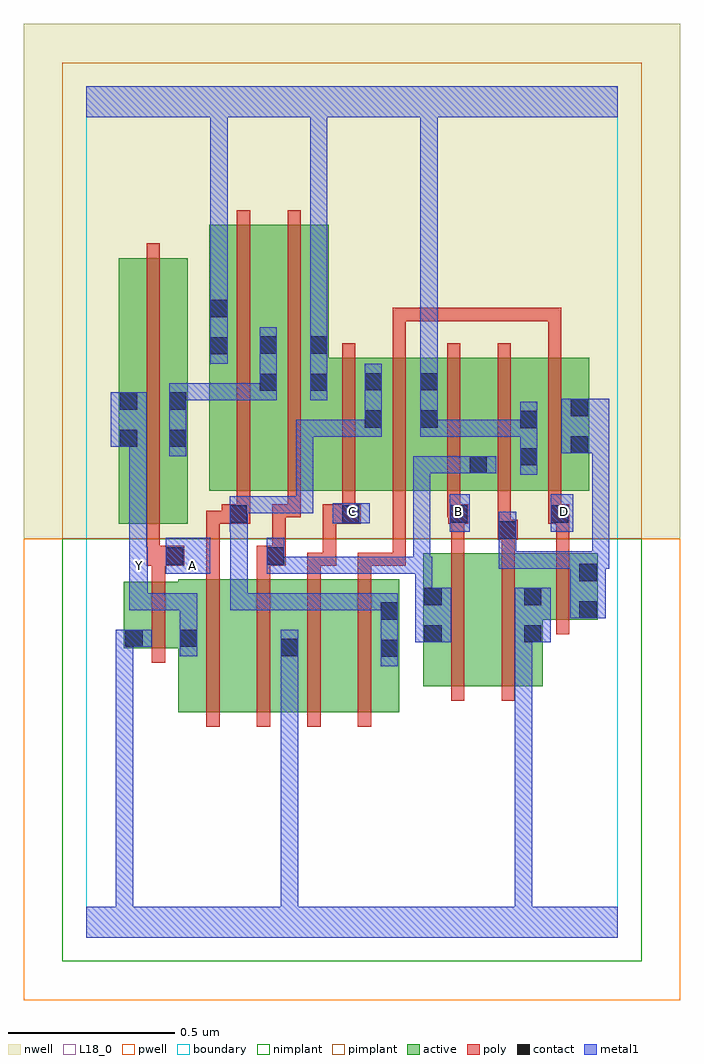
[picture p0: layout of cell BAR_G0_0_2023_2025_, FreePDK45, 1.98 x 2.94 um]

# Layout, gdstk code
import gdstk
lib = gdstk.Library(unit=1e-6, precision=1e-09)
def R(c, l, rs):  # rectangles x0, y0, x1, y1
    for r in rs: c.add(gdstk.rectangle(r[:2], r[2:], *l))
def A(c, l, x, y, w, h, nx, ny, dx, dy):  # array of equal rectangles
    R(c, l, [(x+i*dx, y+j*dy, x+i*dx+w, y+j*dy+h) for i in range(nx) for j in range(ny)])
active = (1, 0)
pwell = (2, 0)
nwell = (3, 0)
nimplant = (4, 0)
pimplant = (5, 0)
poly = (9, 0)
contact = (10, 0)
metal1 = (11, 0)
L18_0 = (18, 0)
boundary = (235, 0)

bar_g0_0_2023_2025_ = lib.new_cell('BAR_G0_0_2023_2025_')
R(bar_g0_0_2023_2025_, active, [(0.278,0.678,0.458,1.078), (0.278,0.678,0.338,0.93), (0.458,0.678,0.642,1.078), (0.582,0.678,0.762,1.078), (0.582,0.678,0.642,1.078), (0.762,0.678,0.942,1.078), (0.882,0.678,0.942,1.078), (1.014,0.756,1.194,1.156), (1.014,0.756,1.074,1.156), (1.194,0.756,1.374,1.156), (1.314,0.756,1.374,1.056), (0.114,0.87,0.174,1.07), (0.114,0.87,0.338,1.07), (1.314,0.956,1.54,1.156), (1.48,0.956,1.54,1.156), (0.098,1.244,0.158,2.044), (0.098,1.244,0.306,2.044), (0.246,1.244,0.306,2.044), (0.37,1.344,0.43,2.144), (0.37,1.344,0.578,2.144), (0.518,1.344,0.578,2.144), (0.518,1.344,0.73,2.144), (0.67,1.344,0.894,1.744), (0.67,1.344,0.73,2.144), (0.834,1.344,0.894,1.744), (0.834,1.344,1.062,1.744), (1.002,1.344,1.062,1.744), (1.002,1.344,1.21,1.744), (1.15,1.344,1.362,1.744), (1.302,1.344,1.362,1.744), (1.302,1.344,1.514,1.744), (1.454,1.344,1.514,1.744), (1.15,1.392,1.21,1.644)])
R(bar_g0_0_2023_2025_, pwell, [(-0.188,-0.188,1.788,1.2)])
R(bar_g0_0_2023_2025_, nwell, [(-0.188,1.2,1.788,2.748)])
R(bar_g0_0_2023_2025_, nimplant, [(-0.072,-0.072,1.672,1.2)])
R(bar_g0_0_2023_2025_, pimplant, [(-0.072,1.2,1.672,2.632)])
A(bar_g0_0_2023_2025_, poly, 0.362, 0.634, 0.04, 0.488, 4, 1, 0.152, 0)
A(bar_g0_0_2023_2025_, poly, 0.514, 1.082, 0.04, 0.076, 3, 1, 0.152, 0)
A(bar_g0_0_2023_2025_, poly, 1.086, 1.3, 0.04, 0.488, 3, 1, 0.152, 0)
R(bar_g0_0_2023_2025_, poly, [(1.098,0.712,1.138,1.2), (1.25,0.712,1.29,1.2), (0.198,0.826,0.238,1.114), (1.414,0.912,1.454,1.2), (0.198,1.074,0.238,1.158), (0.362,1.082,0.402,1.284), (0.182,1.118,0.296,1.178), (0.198,1.118,0.238,1.158), (0.198,1.118,0.238,1.158), (0.514,1.118,0.6,1.178), (0.666,1.118,0.752,1.158), (0.712,1.118,0.752,1.284), (0.818,1.118,0.95,1.158), (0.91,1.118,0.95,1.158), (0.91,1.118,0.962,1.158), (0.922,1.118,0.962,1.34), (0.182,1.138,0.222,1.24), (0.56,1.138,0.6,1.304), (1.098,1.16,1.138,1.284), (1.25,1.16,1.29,1.236), (1.414,1.16,1.454,1.284), (1.238,1.196,1.298,1.256), (0.182,1.2,0.222,2.088), (1.238,1.216,1.278,1.256), (1.238,1.216,1.278,1.256), (1.238,1.216,1.278,1.34), (0.362,1.244,0.448,1.284), (0.408,1.244,0.448,1.284), (0.408,1.244,0.494,1.304), (0.712,1.244,0.826,1.304), (1.09,1.244,1.15,1.304), (1.39,1.244,1.454,1.304), (1.414,1.244,1.454,1.284), (1.414,1.244,1.454,1.284), (0.454,1.264,0.494,1.34), (0.56,1.264,0.646,1.304), (0.606,1.264,0.646,1.34), (0.77,1.264,0.81,1.34), (1.086,1.264,1.126,1.34), (1.086,1.264,1.13,1.304), (1.09,1.264,1.13,1.304), (1.39,1.264,1.43,1.34), (0.454,1.3,0.494,2.188), (0.606,1.3,0.646,2.188), (0.77,1.3,0.81,1.788), (0.922,1.3,0.962,1.788), (0.922,1.748,0.962,1.894), (1.39,1.748,1.43,1.894), (0.922,1.854,0.962,1.894), (0.922,1.854,0.962,1.894), (0.922,1.854,0.962,1.894), (0.922,1.854,1.172,1.894), (1.132,1.854,1.172,1.894), (1.132,1.854,1.172,1.894), (1.132,1.854,1.172,1.894), (1.132,1.854,1.278,1.894), (1.238,1.854,1.278,1.894), (1.238,1.854,1.278,1.894), (1.238,1.854,1.278,1.894), (1.238,1.854,1.43,1.894), (1.39,1.854,1.43,1.894), (1.39,1.854,1.43,1.894), (1.39,1.854,1.43,1.894)])
R(bar_g0_0_2023_2025_, contact, [(0.886,0.844,0.938,0.896), (0.586,0.846,0.638,0.898), (0.118,0.874,0.17,0.926), (0.282,0.874,0.334,0.926), (1.018,0.888,1.07,0.94), (1.318,0.888,1.37,0.94), (0.886,0.956,0.938,1.008), (1.484,0.96,1.536,1.012), (1.018,1,1.07,1.052), (1.318,1,1.37,1.052), (1.484,1.072,1.536,1.124), (0.24,1.122,0.292,1.174), (0.544,1.122,0.596,1.174), (1.242,1.2,1.294,1.252), (0.432,1.248,0.484,1.3), (0.77,1.248,0.822,1.3), (1.094,1.248,1.146,1.3), (1.398,1.248,1.45,1.3), (1.154,1.396,1.206,1.448), (1.306,1.42,1.358,1.472), (1.458,1.456,1.51,1.508), (0.102,1.476,0.154,1.528), (0.25,1.476,0.302,1.528), (1.306,1.532,1.358,1.584), (0.838,1.534,0.89,1.586), (1.006,1.534,1.058,1.586), (1.458,1.568,1.51,1.62), (0.102,1.588,0.154,1.64), (0.25,1.588,0.302,1.64), (0.522,1.644,0.574,1.696), (0.674,1.644,0.726,1.696), (0.838,1.646,0.89,1.698), (1.006,1.646,1.058,1.698), (0.374,1.754,0.426,1.806), (0.522,1.756,0.574,1.808), (0.674,1.756,0.726,1.808), (0.374,1.866,0.426,1.918)])
A(bar_g0_0_2023_2025_, metal1, 0.434, 0.984, 0.052, 0.052, 3, 1, 0.11, 0)
A(bar_g0_0_2023_2025_, metal1, 0.434, 0.984, 0.162, 0.052, 3, 1, 0.11, 0)
A(bar_g0_0_2023_2025_, metal1, 0.544, 1.094, 0.052, 0.052, 3, 1, 0.11, 0)
R(bar_g0_0_2023_2025_, metal1, [(0,0,1.6,0.092), (0.09,0.04,0.142,0.092), (0.09,0.04,0.142,0.092), (0.09,0.04,0.142,0.092), (0.09,0.04,0.142,0.092), (0.09,0.04,0.142,0.092), (0.09,0.04,0.142,0.092), (0.09,0.04,0.142,0.926), (0.586,0.04,0.638,0.092), (0.586,0.04,0.638,0.092), (0.586,0.04,0.638,0.092), (0.586,0.04,0.638,0.092), (0.586,0.04,0.638,0.092), (0.586,0.04,0.638,0.092), (0.586,0.04,0.638,0.092), (0.586,0.04,0.638,0.092), (0.586,0.04,0.638,0.092), (0.586,0.04,0.638,0.092), (0.586,0.04,0.638,0.092), (0.586,0.04,0.638,0.092), (0.586,0.04,0.638,0.87), (1.29,0.04,1.342,0.092), (1.29,0.04,1.342,0.092), (1.29,0.04,1.342,0.092), (1.29,0.04,1.342,0.092), (1.29,0.04,1.342,0.092), (1.29,0.04,1.342,0.092), (1.29,0.04,1.342,0.202), (1.29,0.15,1.342,0.202), (1.29,0.15,1.342,0.202), (1.29,0.15,1.342,0.202), (1.29,0.15,1.342,0.202), (1.29,0.15,1.342,0.202), (1.29,0.15,1.342,0.94), (0.886,0.816,0.938,1.036), (0.586,0.818,0.638,0.926), (0.282,0.846,0.334,0.954), (0.09,0.874,0.142,0.926), (0.09,0.874,0.142,0.926), (0.09,0.874,0.142,0.926), (0.09,0.874,0.142,0.926), (0.09,0.874,0.142,0.926), (0.09,0.874,0.142,0.926), (0.09,0.874,0.142,0.926), (0.09,0.874,0.142,0.926), (0.09,0.874,0.142,0.926), (0.09,0.874,0.142,0.926), (0.09,0.874,0.198,0.926), (0.99,0.888,1.098,1.052), (1.29,0.888,1.398,1.052), (0.282,0.902,0.334,1.036), (1.456,0.96,1.564,1.124), (0.13,0.984,0.186,1.174), (0.134,0.984,0.186,1.036), (0.134,0.984,0.186,1.036), (0.134,0.984,0.334,1.036), (0.282,0.984,0.334,1.036), (0.434,0.984,0.486,1.328), (0.654,0.984,0.706,1.036), (0.654,0.984,0.706,1.036), (0.764,0.984,0.816,1.036), (0.764,0.984,0.816,1.036), (0.764,0.984,0.816,1.036), (0.764,0.984,0.938,1.036), (0.99,1,1.042,1.146), (1.512,1.072,1.564,1.162), (0.24,1.094,0.374,1.202), (0.544,1.094,0.596,1.146), (0.544,1.094,0.596,1.202), (0.544,1.094,0.706,1.146), (0.654,1.094,0.816,1.146), (0.764,1.094,0.816,1.146), (0.764,1.094,0.816,1.146), (0.764,1.094,0.938,1.146), (0.886,1.094,0.938,1.146), (0.886,1.094,1.036,1.146), (0.984,1.094,1.036,1.448), (0.984,1.094,1.042,1.146), (1.242,1.11,1.562,1.162), (1.242,1.11,1.294,1.224), (1.51,1.11,1.562,1.162), (1.51,1.11,1.562,1.162), (1.51,1.11,1.574,1.162), (1.522,1.11,1.574,1.508), (1.522,1.11,1.574,1.162), (1.522,1.11,1.574,1.162), (0.13,1.122,0.182,1.174), (0.13,1.122,0.182,1.174), (0.13,1.122,0.182,1.528), (1.242,1.172,1.294,1.224), (1.242,1.172,1.294,1.28), (0.432,1.22,0.486,1.328), (1.094,1.22,1.154,1.334), (1.398,1.22,1.466,1.334), (0.742,1.246,0.854,1.306), (0.434,1.276,0.486,1.328), (0.434,1.276,0.486,1.328), (0.434,1.276,0.486,1.328), (0.434,1.276,0.486,1.328), (0.434,1.276,0.596,1.328), (0.544,1.276,0.596,1.328), (0.544,1.276,0.684,1.328), (0.632,1.276,0.684,1.328), (0.632,1.276,0.684,1.558), (1.306,1.392,1.358,1.612), (0.984,1.396,1.036,1.448), (0.984,1.396,1.036,1.448), (0.984,1.396,1.036,1.448), (0.984,1.396,1.178,1.448), (1.126,1.396,1.178,1.448), (1.126,1.396,1.178,1.448), (1.126,1.396,1.234,1.448), (0.25,1.448,0.302,1.668), (1.43,1.456,1.574,1.62), (0.074,1.476,0.182,1.64), (0.632,1.506,0.684,1.558), (0.632,1.506,0.706,1.558), (0.654,1.506,0.706,1.558), (0.654,1.506,0.89,1.558), (0.838,1.506,0.89,1.726), (1.006,1.506,1.058,1.558), (1.006,1.506,1.058,1.558), (1.006,1.506,1.058,1.726), (1.006,1.506,1.168,1.558), (1.116,1.506,1.168,1.558), (1.116,1.506,1.34,1.558), (1.288,1.506,1.34,1.558), (1.288,1.506,1.358,1.558), (0.25,1.616,0.302,1.668), (0.25,1.616,0.302,1.668), (0.25,1.616,0.412,1.668), (0.36,1.616,0.412,1.668), (0.36,1.616,0.574,1.668), (0.522,1.616,0.574,1.836), (0.674,1.616,0.726,1.836), (1.006,1.674,1.058,1.726), (1.006,1.674,1.058,1.726), (1.006,1.674,1.058,1.726), (1.006,1.674,1.058,1.726), (1.006,1.674,1.058,2.52), (0.374,1.726,0.426,1.946), (0.674,1.784,0.726,2.52), (0.374,1.894,0.426,1.946), (0.374,1.894,0.426,1.946), (0.374,1.894,0.426,1.946), (0.374,1.894,0.426,1.946), (0.374,1.894,0.426,1.946), (0.374,1.894,0.426,1.946), (0.374,1.894,0.426,1.946), (0.374,1.894,0.426,1.946), (0.374,1.894,0.426,2.52), (0,2.468,1.6,2.56), (0.674,2.468,0.726,2.52), (0.674,2.468,0.726,2.52), (0.674,2.468,0.726,2.52), (0.674,2.468,0.726,2.52), (0.674,2.468,0.726,2.52), (0.674,2.468,0.726,2.52), (0.674,2.468,0.726,2.52), (0.674,2.468,0.726,2.52), (1.006,2.468,1.058,2.52), (1.006,2.468,1.058,2.52), (1.006,2.468,1.058,2.52), (1.006,2.468,1.058,2.52), (1.006,2.468,1.058,2.52), (1.006,2.468,1.058,2.52), (1.006,2.468,1.058,2.52), (1.006,2.468,1.058,2.52), (1.006,2.468,1.058,2.52), (1.006,2.468,1.058,2.52), (1.006,2.468,1.058,2.52), (1.006,2.468,1.058,2.52)])
A(bar_g0_0_2023_2025_, L18_0, 0.774, 1.254, 0.052, 0.052, 3, 1, 0.32, 0)
R(bar_g0_0_2023_2025_, L18_0, [(0,0,1.6,0.092), (0.09,0.04,0.142,0.092), (0.09,0.04,0.142,0.092), (0.09,0.04,0.142,0.092), (0.09,0.04,0.142,0.092), (0.09,0.04,0.142,0.092), (0.09,0.04,0.142,0.092), (0.09,0.04,0.142,0.926), (0.586,0.04,0.638,0.092), (0.586,0.04,0.638,0.092), (0.586,0.04,0.638,0.092), (0.586,0.04,0.638,0.092), (0.586,0.04,0.638,0.092), (0.586,0.04,0.638,0.092), (0.586,0.04,0.638,0.092), (0.586,0.04,0.638,0.092), (0.586,0.04,0.638,0.092), (0.586,0.04,0.638,0.092), (0.586,0.04,0.638,0.092), (0.586,0.04,0.638,0.092), (0.586,0.04,0.638,0.87), (1.29,0.04,1.342,0.092), (1.29,0.04,1.342,0.092), (1.29,0.04,1.342,0.092), (1.29,0.04,1.342,0.092), (1.29,0.04,1.342,0.092), (1.29,0.04,1.342,0.092), (1.29,0.04,1.342,0.202), (1.29,0.15,1.342,0.202), (1.29,0.15,1.342,0.202), (1.29,0.15,1.342,0.202), (1.29,0.15,1.342,0.202), (1.29,0.15,1.342,0.202), (1.29,0.15,1.342,0.94), (0.586,0.818,0.638,0.926), (0.282,0.846,0.334,0.954), (0.09,0.874,0.142,0.926), (0.09,0.874,0.142,0.926), (0.09,0.874,0.142,0.926), (0.09,0.874,0.142,0.926), (0.09,0.874,0.142,0.926), (0.09,0.874,0.142,0.926), (0.09,0.874,0.142,0.926), (0.09,0.874,0.142,0.926), (0.09,0.874,0.142,0.926), (0.09,0.874,0.142,0.926), (0.09,0.874,0.198,0.926), (1.29,0.888,1.398,1.052), (0.282,0.902,0.334,1.036), (0.13,0.984,0.186,1.174), (0.134,0.984,0.186,1.036), (0.134,0.984,0.186,1.036), (0.134,0.984,0.334,1.036), (0.282,0.984,0.334,1.036), (0.134,1.094,0.186,1.146), (0.24,1.094,0.374,1.202), (0.294,1.094,0.346,1.146), (0.13,1.122,0.182,1.174), (0.13,1.122,0.182,1.174), (0.13,1.122,0.182,1.528), (1.094,1.22,1.154,1.334), (1.398,1.22,1.466,1.334), (0.742,1.246,0.854,1.306), (1.306,1.392,1.358,1.612), (0.074,1.476,0.182,1.64), (1.006,1.506,1.058,1.558), (1.006,1.506,1.058,1.558), (1.006,1.506,1.058,1.726), (1.006,1.506,1.168,1.558), (1.116,1.506,1.168,1.558), (1.116,1.506,1.34,1.558), (1.288,1.506,1.34,1.558), (1.288,1.506,1.358,1.558), (0.674,1.616,0.726,1.836), (1.006,1.674,1.058,1.726), (1.006,1.674,1.058,1.726), (1.006,1.674,1.058,1.726), (1.006,1.674,1.058,1.726), (1.006,1.674,1.058,2.52), (0.374,1.726,0.426,1.946), (0.674,1.784,0.726,2.52), (0.374,1.894,0.426,1.946), (0.374,1.894,0.426,1.946), (0.374,1.894,0.426,1.946), (0.374,1.894,0.426,1.946), (0.374,1.894,0.426,1.946), (0.374,1.894,0.426,1.946), (0.374,1.894,0.426,1.946), (0.374,1.894,0.426,1.946), (0.374,1.894,0.426,2.52), (0,2.468,1.6,2.56), (0.674,2.468,0.726,2.52), (0.674,2.468,0.726,2.52), (0.674,2.468,0.726,2.52), (0.674,2.468,0.726,2.52), (0.674,2.468,0.726,2.52), (0.674,2.468,0.726,2.52), (0.674,2.468,0.726,2.52), (0.674,2.468,0.726,2.52), (1.006,2.468,1.058,2.52), (1.006,2.468,1.058,2.52), (1.006,2.468,1.058,2.52), (1.006,2.468,1.058,2.52), (1.006,2.468,1.058,2.52), (1.006,2.468,1.058,2.52), (1.006,2.468,1.058,2.52), (1.006,2.468,1.058,2.52), (1.006,2.468,1.058,2.52), (1.006,2.468,1.058,2.52), (1.006,2.468,1.058,2.52), (1.006,2.468,1.058,2.52)])
R(bar_g0_0_2023_2025_, boundary, [(0,0,1.6,2.56)])
bar_g0_0_2023_2025_.add(gdstk.Label('A', (0.32,1.12), layer=11, texttype=0))
bar_g0_0_2023_2025_.add(gdstk.Label('B', (1.12,1.28), layer=11, texttype=0))
bar_g0_0_2023_2025_.add(gdstk.Label('C', (0.8,1.28), layer=11, texttype=0))
bar_g0_0_2023_2025_.add(gdstk.Label('D', (1.44,1.28), layer=11, texttype=0))
bar_g0_0_2023_2025_.add(gdstk.Label('Y', (0.16,1.12), layer=11, texttype=0))

lib.write_gds('BAR_G0_0_2023_2025_.gds')
